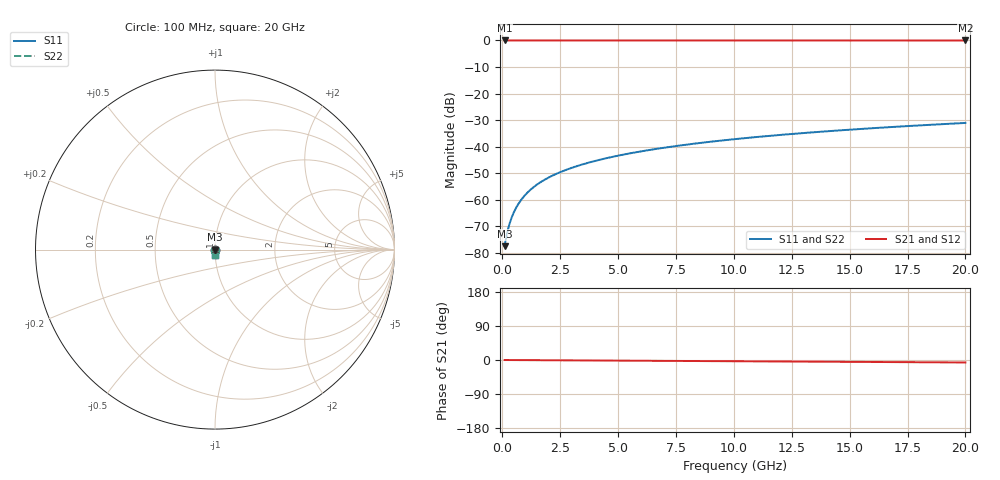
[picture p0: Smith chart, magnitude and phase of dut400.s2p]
! Touchstone file exported from HFSS 2026.1.0
!  File:  C:/ffzhzh/LocalFiles/Ansys_Project_Files/temp_train_TSV_400_1783020283_4048.aedt
!  Generated:  03:26:12 AM Jul  3, 2026
!  Design:  TSV
!  Project:  temp_train_TSV_400_1783020283_4048
! Variables:
!  h_bsmrdl = 2um
!  h_ox = 20um
!  h_rdl = 5um
!  h_sub = 63.39um
!  h_tmrdl = 5um
!  h_tsv = 63.39um
!  h_via = 3um
!  l_bsmrdl = 300um
!  l_sub = 424.4um
!  l_tmrdl = 200um
!  m_sub = 200um
!  pitch = 38.87um
!  r_tsv = 12.2um
!  s_tmrdl = 10um
!  w_bsmrdl = 18um
!  w_sub = 500um
!  w_tmrdl = 12um
!  x_tsv_center1 = 206um
!  x_tsv_center2 = 524um
!  x_tsv_center3 = 736um
!  x_tsv_center4 = 1054um
!  x_tsv_center5 = 1266um
!  x_tsv_center6 = 1584um
# GHz S MA R 50.000000
! Terminal data exported
! Port[1] = TSV1_1_T1
! Port[2] = TSV1_1_T2
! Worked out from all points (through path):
!   200 points, 100 MHz to 20 GHz, reference 50 ohm
!   highest |S21| = 0.00 dB at 100 MHz (marker M1); lowest = 0.0 dB at 20 GHz (marker M2)
!   lowest |S11| = -77.6 dB at 100 MHz (marker M3), VSWR 1.00, Z = 50 - j0.0102 ohm
!   |S11| at or under -10 dB: start of sweep to end of sweep
!   |S22| runs from -77.6 to -31.1 dB; largest |S21 - S12| = 1e-15
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0.1  0.0001325 -50.5  0.9999 -0.0  0.9999 -0.0  0.0001325 -50.5
! Gamma 0 0 0 0
! Port Impedance 50 0 50 0
0.2  0.0002285 -65.2  0.9999 -0.1  0.9999 -0.1  0.0002285 -65.2
0.3  0.0003372 -70.5  0.9999 -0.1  0.9999 -0.1  0.0003372 -70.5
0.4  0.0004539 -73.1  0.9999 -0.1  0.9999 -0.1  0.0004539 -73.1
0.5  0.0005767 -74.7  0.9998 -0.2  0.9998 -0.2  0.0005767 -74.7
0.7  0.000835 -76.8  0.9998 -0.2  0.9998 -0.2  0.000835 -76.8
0.8  0.0009682 -77.7  0.9998 -0.3  0.9998 -0.3  0.0009682 -77.7
1  0.001238 -79.2  0.9998 -0.3  0.9998 -0.3  0.001238 -79.2
1.2  0.001511 -80.4  0.9997 -0.4  0.9997 -0.4  0.001511 -80.4
1.4  0.001784 -81.4  0.9997 -0.5  0.9997 -0.5  0.001784 -81.4
1.7  0.002195 -82.6  0.9997 -0.6  0.9997 -0.6  0.002195 -82.6
2  0.002605 -83.5  0.9997 -0.7  0.9997 -0.7  0.002605 -83.5
2.7  0.003562 -85.0  0.9996 -0.9  0.9996 -0.9  0.003562 -85.0
3.5  0.00466 -86.1  0.9996 -1.2  0.9996 -1.2  0.00466 -86.1
4.2  0.005626 -86.8  0.9995 -1.4  0.9995 -1.4  0.005626 -86.8
5  0.006735 -87.4  0.9995 -1.6  0.9995 -1.6  0.006735 -87.4
6.8  0.009248 -88.6  0.9994 -2.2  0.9994 -2.2  0.009247 -88.6
8.3  0.01135 -89.5  0.9993 -2.7  0.9993 -2.7  0.01135 -89.5
10.1  0.01389 -90.4  0.9992 -3.3  0.9992 -3.3  0.01389 -90.4
13.4  0.01854 -91.9  0.999 -4.4  0.999 -4.4  0.01854 -91.9
16.7  0.0232 -93.2  0.9988 -5.4  0.9988 -5.4  0.0232 -93.2
20  0.02787 -94.5  0.9986 -6.5  0.9986 -6.5  0.02787 -94.5
